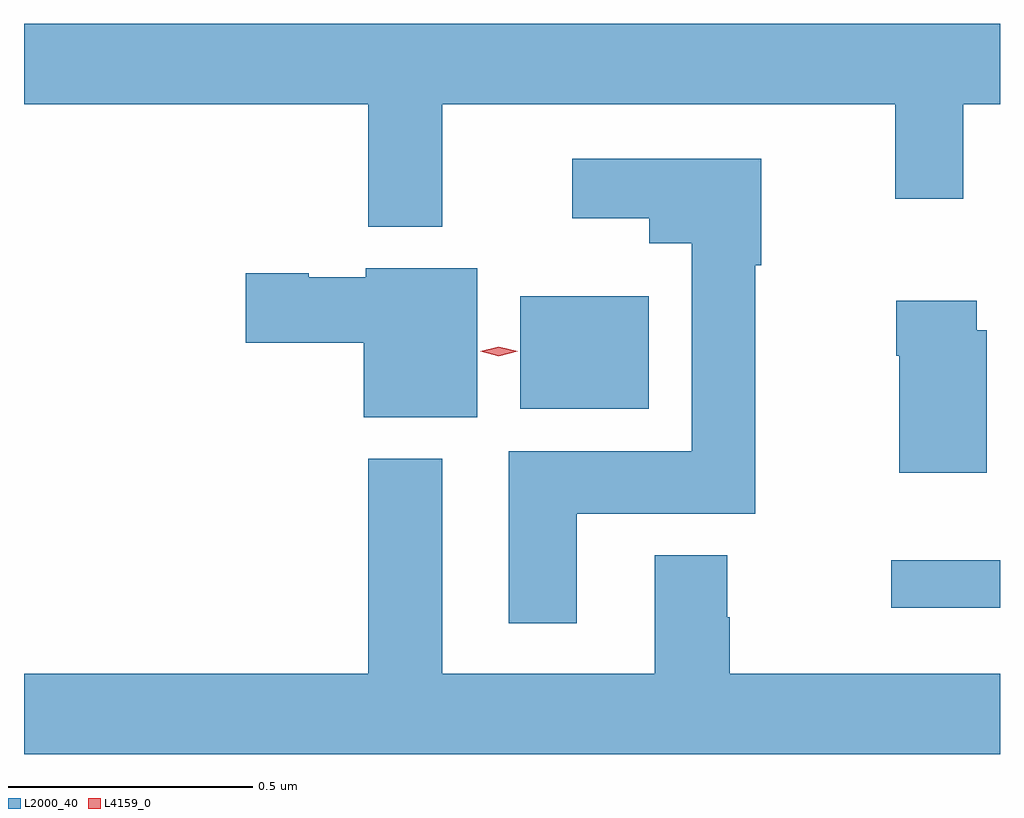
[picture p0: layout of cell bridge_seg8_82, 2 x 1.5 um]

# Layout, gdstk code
import gdstk
lib = gdstk.Library(unit=1e-6, precision=1e-09)
def R(c, l, rs):  # rectangles x0, y0, x1, y1
    for r in rs: c.add(gdstk.rectangle(r[:2], r[2:], *l))
def P(c, l, *ps):  # polygons
    for p in ps: c.add(gdstk.Polygon(p, *l))
L2000_40 = (2000, 40)
L4159_0 = (4159, 0)

bridge_seg8_82 = lib.new_cell('bridge_seg8_82')
R(bridge_seg8_82, L2000_40, [(699.015,1159.424,699.238,1159.521), (698.255,1159.832,698.518,1160.062)])
P(bridge_seg8_82, L2000_40, [(698.095,1160.456),(699.023,1160.456),(699.023,1160.262),(699.163,1160.262),(699.163,1160.456),(699.238,1160.456),(699.238,1160.62),(697.238,1160.62),(697.238,1160.456),(697.943,1160.456),(697.943,1160.204),(698.095,1160.204)],
  [(698.371,1159.616),(698.736,1159.616),(698.736,1160.126),(698.749,1160.126),(698.749,1160.344),(698.361,1160.344),(698.361,1160.222),(698.519,1160.222),(698.519,1160.171),(698.606,1160.171),(698.606,1159.744),(698.231,1159.744),(698.231,1159.392),(698.371,1159.392)],
  [(698.167,1160.119),(697.938,1160.119),(697.938,1160.101),(697.821,1160.101),(697.821,1160.109),(697.692,1160.109),(697.692,1159.967),(697.934,1159.967),(697.934,1159.814),(698.167,1159.814)],
  [(699.211,1159.992),(699.19,1159.992),(699.19,1160.053),(699.025,1160.053),(699.025,1159.94),(699.032,1159.94),(699.032,1159.7),(699.211,1159.7)],
  [(699.238,1159.288),(698.684,1159.288),(698.684,1159.404),(698.679,1159.404),(698.679,1159.531),(698.531,1159.531),(698.531,1159.288),(698.095,1159.288),(698.095,1159.729),(697.943,1159.729),(697.943,1159.288),(697.238,1159.288),(697.238,1159.124),(699.238,1159.124)])
P(bridge_seg8_82, L4159_0, [(698.211,1159.939),(698.173,1159.949),(698.173,1159.949),(698.173,1159.949),(698.211,1159.959),(698.25,1159.949),(698.25,1159.949),(698.25,1159.949)])

lib.write_gds('bridge_seg8_82.gds')
